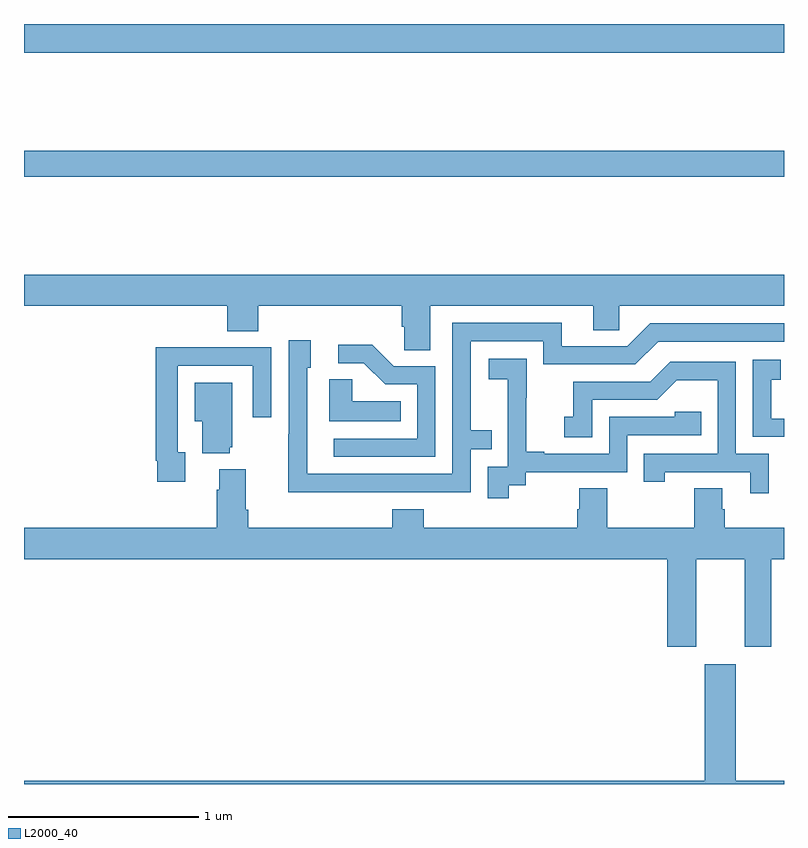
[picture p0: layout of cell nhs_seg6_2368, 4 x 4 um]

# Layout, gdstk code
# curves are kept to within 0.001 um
import gdstk
lib = gdstk.Library(unit=1e-6, precision=1e-09)
def R(c, l, rs):  # rectangles x0, y0, x1, y1
    for r in rs: c.add(gdstk.rectangle(r[:2], r[2:], *l))
def P(c, l, *ps):  # polygons
    for p in ps: c.add(gdstk.Polygon(p, *l))
L2000_40 = (2000, 40)

nhs_seg6_2368 = lib.new_cell('nhs_seg6_2368')
R(nhs_seg6_2368, L2000_40, [(253,934.696,257,934.832), (253,935.348,257,935.5)])
P(nhs_seg6_2368, L2000_40, [(255.139,934.016),(255.995,934.016),(255.995,933.889),(256.134,933.889),(256.134,934.016),(257,934.016),(257,934.18),(253,934.18),(253,934.016),(254.069,934.016),(254.069,933.883),(254.234,933.883),(254.234,934.016),(254.987,934.016),(254.987,933.907),(255,933.907),(255,933.784),(255.139,933.784)],
  [(254.855,933.036),(255.351,933.036),(255.351,933.261),(255.461,933.261),(255.461,933.362),(255.351,933.362),(255.351,933.831),(255.732,933.831),(255.732,933.708),(256.218,933.708),(256.338,933.828),(257,933.828),(257,933.924),(256.296,933.924),(256.176,933.804),(255.829,933.804),(255.829,933.927),(255.255,933.927),(255.255,933.132),(254.49,933.132),(254.49,933.69),(254.509,933.69),(254.509,933.835),(254.394,933.835),(254.394,933.341),(254.392,933.341),(254.392,933.035)],
  [(255.165,933.699),(254.946,933.699),(254.833,933.812),(254.655,933.812),(254.655,933.714),(254.789,933.714),(254.9,933.603),(255.069,933.603),(255.069,933.318),(254.631,933.318),(254.631,933.222),(255.165,933.222)],
  [(253.849,933.246),(253.809,933.246),(253.809,933.702),(254.205,933.702),(254.205,933.429),(254.301,933.429),(254.301,933.798),(253.985,933.798),(253.985,933.8),(253.693,933.8),(253.693,933.202),(253.701,933.202),(253.701,933.09),(253.849,933.09)],
  [(255.55,933.073),(255.642,933.073),(255.642,933.141),(256.176,933.141),(256.176,933.336),(256.565,933.336),(256.565,933.459),(256.425,933.459),(256.425,933.432),(256.08,933.432),(256.08,933.237),(255.739,933.237),(255.739,933.25),(255.644,933.25),(255.644,933.533),(255.645,933.533),(255.645,933.739),(255.447,933.739),(255.447,933.629),(255.545,933.629),(255.545,933.401),(255.546,933.401),(255.546,933.171),(255.441,933.171),(255.441,933.003),(255.55,933.003)],
  [(257,933.423),(256.933,933.423),(256.933,933.627),(256.982,933.627),(256.982,933.733),(256.836,933.733),(256.836,933.327),(257,933.327)],
  [(256.92,933.237),(256.746,933.237),(256.746,933.723),(256.4,933.723),(256.295,933.618),(255.892,933.618),(255.892,933.433),(255.843,933.433),(255.843,933.324),(255.99,933.324),(255.99,933.522),(256.332,933.522),(256.436,933.626),(256.65,933.626),(256.65,933.237),(256.261,933.237),(256.261,933.09),(256.372,933.09),(256.372,933.141),(256.823,933.141),(256.823,933.03),(256.92,933.03)],
  [(254.984,933.514),(254.727,933.514),(254.727,933.629),(254.606,933.629),(254.606,933.41),(254.984,933.41)],
  [(254.084,933.273),(254.095,933.273),(254.095,933.613),(253.898,933.613),(253.898,933.41),(253.937,933.41),(253.937,933.242),(254.084,933.242)],
  [(256.537,932.684),(256.793,932.684),(256.793,932.223),(256.933,932.223),(256.933,932.684),(257,932.684),(257,932.848),(256.688,932.848),(256.688,932.946),(256.675,932.946),(256.675,933.056),(256.528,933.056),(256.528,932.848),(256.071,932.848),(256.071,933.056),(255.923,933.056),(255.923,932.946),(255.911,932.946),(255.911,932.848),(255.104,932.848),(255.104,932.947),(254.939,932.947),(254.939,932.848),(254.18,932.848),(254.18,932.944),(254.167,932.944),(254.167,933.157),(254.027,933.157),(254.027,933.05),(254.015,933.05),(254.015,932.848),(253,932.848),(253,932.684),(256.385,932.684),(256.385,932.223),(256.537,932.223)],
  [(257,931.516),(256.747,931.516),(256.747,932.131),(256.583,932.131),(256.583,931.516),(253,931.516),(253,931.5),(257,931.5)])

lib.write_gds('nhs_seg6_2368.gds')
